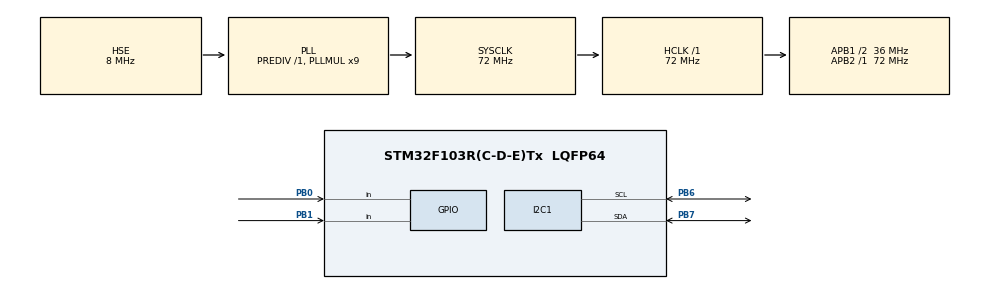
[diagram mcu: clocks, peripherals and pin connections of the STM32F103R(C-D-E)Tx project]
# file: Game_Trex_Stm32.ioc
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Mcu.Family=STM32F1
Mcu.Name=STM32F103R(C-D-E)Tx
Mcu.Package=LQFP64
NVIC.PriorityGroup=NVIC_PRIORITYGROUP_4
PA13.Mode=Serial_Wire
PA13.Signal=SYS_JTMS-SWDIO
PA14.Mode=Serial_Wire
PA14.Signal=SYS_JTCK-SWCLK
PB0.Signal=GPIO_Input
PB1.Signal=GPIO_Input
PB6.Mode=I2C
PB6.Signal=I2C1_SCL
PB7.Mode=I2C
PB7.Signal=I2C1_SDA
PD0-OSC_IN.Mode=HSE-External-Oscillator
PD0-OSC_IN.Signal=RCC_OSC_IN
PD1-OSC_OUT.Mode=HSE-External-Oscillator
PD1-OSC_OUT.Signal=RCC_OSC_OUT
ProjectManager.HeapSize=0x200
ProjectManager.StackSize=0x400
ProjectManager.TargetToolchain=STM32CubeIDE
RCC.AHBFreq_Value=72000000
RCC.APB1CLKDivider=RCC_HCLK_DIV2
RCC.APB1Freq_Value=36000000
RCC.APB1TimFreq_Value=72000000
RCC.APB2Freq_Value=72000000
RCC.APB2TimFreq_Value=72000000
RCC.HCLKFreq_Value=72000000
RCC.PLLMUL=RCC_PLL_MUL9
RCC.PLLSourceVirtual=RCC_PLLSOURCE_HSE
RCC.SYSCLKFreq_VALUE=72000000
RCC.SYSCLKSource=RCC_SYSCLKSOURCE_PLLCLK
RCC.USBFreq_Value=72000000
board=custom

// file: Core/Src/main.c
/* USER CODE BEGIN Header */
/**
 ******************************************************************************
 * @file           : main.c
 * @brief          : Main program body
 ******************************************************************************
 * @attention
 *
 * Copyright (c) 2025 STMicroelectronics.
 * All rights reserved.
 *
 * This software is licensed under terms that can be found in the LICENSE file
 * in the root directory of this software component.
 * If no LICENSE file comes with this software, it is provided AS-IS.
 *
 ******************************************************************************
 */
/* USER CODE END Header */
#include "main.h"

/* USER CODE BEGIN Includes */
#include "SH1106.h"
#include "fonts.h"
#include "dino_frames.h"
#include <stdbool.h>
#include "game_config.h"
/* USER CODE END Includes */

I2C_HandleTypeDef hi2c1;

/* USER CODE BEGIN PV */
// Game state structure
typedef struct {
    int16_t Dino;
    int16_t V_jump;
    int16_t ObstacleX;
    int16_t S_Obstacle;
    int16_t Obstacle_Y;
    int16_t initialObstacleSpeed;
    uint16_t Score;
    uint16_t Hscore;
    bool Menu;
    bool GameOver;
    bool Jumping;
    bool Ducking;
    bool colorChanged;
    uint8_t ObstacleType;
    uint8_t FrameCount;
    int color;
    int bgColor;
} GameState;

// Sprite structure
typedef struct {
    const unsigned char* Bitmap;
    int Width;
    int Height;
} Sprite;

// Cloud structure
typedef struct {
    int16_t x;
    int16_t y;
    int16_t moveCount;
    uint8_t type;
    bool active;
} Cloud;

/* Global variables */
static GameState game = {
    .Menu = true,
    .GameOver = false,
    .Score = 0,
    .Hscore = 0,
    .Jumping = false,
    .Ducking = false,
    .Dino = SCREEN_HEIGHT - GROUND_HEIGHT - DINO_HEIGHT,
    .ObstacleX = SCREEN_WIDTH,
    .ObstacleType = OBSTACLE_SMALL_CACTUS, // Initialize with enum
    .FrameCount = 0,
    .V_jump = 0,
    .S_Obstacle = SPEED_EASY,
    .color = SH1106_COLOR_WHITE,
    .bgColor = SH1106_COLOR_BLACK,
    .colorChanged = false,
    .initialObstacleSpeed = SPEED_EASY
};

static Cloud clouds[MAX_CLOUDS];
/* USER CODE END PV */

void SystemClock_Config(void);
static void MX_GPIO_Init(void);
static void MX_I2C1_Init(void);

void Draw_Settings_Menu(bool isGameOver);
void Handle_Button_Input(bool *buttonState);
void Update_Speed_Setting();
void Draw_Speed_Text();
void Reset_Game_State();

/* USER CODE BEGIN 0 */
// Reset game to initial state
void Reset_Game(void) {
    if (HAL_GPIO_ReadPin(GPIOB, GPIO_PIN_0) != GPIO_PIN_SET) {
        HAL_Delay(BUTTON_DEBOUNCE_DELAY);
        while (HAL_GPIO_ReadPin(GPIOB, GPIO_PIN_0) != GPIO_PIN_SET) {}

        Reset_Game_State();
        Dino_Game();
    }
}

// Reset all game state variables
void Reset_Game_State(void) {
    game.GameOver = false;
    game.Score = 0;
    game.Dino = SCREEN_HEIGHT - DINO_HEIGHT - GROUND_HEIGHT;
    game.ObstacleX = SCREEN_WIDTH;
    game.S_Obstacle = game.initialObstacleSpeed;
    game.Jumping = false;
    game.Ducking = false;
    game.color = SH1106_COLOR_WHITE;
    game.bgColor = SH1106_COLOR_BLACK;

    // Clear all clouds
    for (int i = 0; i < MAX_CLOUDS; i++) {
        clouds[i].active = false;
    }
}

// Function to select appropriate dinosaur sprite based on state
Sprite Select_Sprite_Player(void) {
    Sprite pl;
    bool isAnimationFrame1 = (game.FrameCount / 3 % 2 == 0);

    if (game.Ducking) {
        pl.Bitmap = isAnimationFrame1 ? trex_duck1 : trex_duck2;
        pl.Width = 32;
        pl.Height = 16;
    } else {
        pl.Bitmap = isAnimationFrame1 ? trex_run1 : trex_run2;
        pl.Width = 16;
        pl.Height = 16;
    }

    return pl;
}

// Function to select appropriate obstacle sprite based on type
Sprite Select_Sprite_Obstacle(void) {
    Sprite ob;
    bool isAnimationFrame1 = (game.FrameCount / 3 % 2 == 0);

    switch (game.ObstacleType) {
        case OBSTACLE_SMALL_CACTUS:
            ob.Width = TREE_SMALL_WIDTH;
            ob.Height = TREE_SMALL_HEIGHT;
            ob.Bitmap = tree_small;
            break;
        case OBSTACLE_TALL_CACTUS:
            ob.Width = TREE_TALL_WIDTH;
            ob.Height = TREE_TALL_HEIGHT;
            ob.Bitmap = tree_tall;
            break;
        case OBSTACLE_COMBINED_CACTUS:
            ob.Width = TREE_SMALL_TALL_WIDTH;
            ob.Height = TREE_SMALL_TALL_HEIGHT;
            ob.Bitmap = tree_small_tall;
            break;
        case OBSTACLE_BIRD:
            ob.Width = BIRD_WIDTH;
            ob.Height = BIRD_HEIGHT;
            ob.Bitmap = isAnimationFrame1 ? bird_1 : bird_2;
            break;
        default:
            return (Sprite){0}; // Return an empty sprite on error
    }

    return ob;
}

// Function to draw the ground
void Draw_Ground(int color) {
    uint8_t groundFrame = game.FrameCount / 3 % 3;
    const uint8_t *groundSprite;

    switch (groundFrame) {
        case 0: groundSprite = ground_1; break;
        case 1: groundSprite = ground_2; break;
        case 2: groundSprite = ground_3; break;
        default: return; // Do nothing on error
    }

    SH1106_DrawBitmap(0, SCREEN_HEIGHT - GROUND_HEIGHT, groundSprite, SCREEN_WIDTH, GROUND_HEIGHT, color);
}

// Function to draw clouds in the sky
void Draw_Clouds(int color) {
    const unsigned char *cloudSprites[3] = {cloud1, cloud2, cloud3};
    static int16_t nextCloudSpawn = 0;

    // Update and draw each active cloud
    for (int i = 0; i < MAX_CLOUDS; i++) {
        if (clouds[i].active) {
            SH1106_DrawBitmap(clouds[i].x, clouds[i].y, cloudSprites[clouds[i].type], 16, 8, color);
            clouds[i].x -= 1;
            clouds[i].moveCount++;

            if (clouds[i].x < -16) {
                clouds[i].active = false;
            }
        }
    }

    // Spawn new cloud when counter reaches threshold
    if (nextCloudSpawn >= 50) {
        for (int i = 0; i < MAX_CLOUDS; i++) {
            if (!clouds[i].active) {
                clouds[i].x = SCREEN_WIDTH;
                clouds[i].y = 10 + (rand() % 3) * 10;
                clouds[i].type = rand() % 3;
                clouds[i].moveCount = 0;
                clouds[i].active = true;
                nextCloudSpawn = 0;
                break;
            }
        }
    }

    nextCloudSpawn++;
}

// Function to update color scheme
void Update_Color(void) {
    // Invert colors every 100 points
    if (game.Score % 100 == 0 && game.Score != 0 && !game.colorChanged) {
        // Toggle colors
        if (game.color == SH1106_COLOR_WHITE) {
            game.color = SH1106_COLOR_BLACK;
            game.bgColor = SH1106_COLOR_WHITE;
        } else {
            game.color = SH1106_COLOR_WHITE;
            game.bgColor = SH1106_COLOR_BLACK;
        }
        game.colorChanged = true;
    } else if (game.Score % 30 != 0) {
        game.colorChanged = false;
    }
}

// Update game state logic
void Update_Game_Logic(void) {
    // Jump control
    if (HAL_GPIO_ReadPin(GPIOB, GPIO_PIN_0) == GPIO_PIN_SET && !game.Jumping && !game.Ducking) {
        game.Jumping = true;
        game.V_jump = JUMP_STRENGTH;
    }
    // Duck control
    else if (HAL_GPIO_ReadPin(GPIOB, GPIO_PIN_1) == GPIO_PIN_SET) {
        game.Ducking = true;
    } else {
        game.Ducking = false;
    }

    // Jumping physics
    if (game.Jumping) {
        game.Dino -= game.V_jump;
        game.V_jump -= GRAVITY;

        if (game.Dino >= SCREEN_HEIGHT - DINO_HEIGHT - GROUND_HEIGHT) {
            game.Dino = SCREEN_HEIGHT - DINO_HEIGHT - GROUND_HEIGHT;
            game.Jumping = false;
        }

        // Cancel jump if duck pressed while jumping
        if (HAL_GPIO_ReadPin(GPIOB, GPIO_PIN_1) == GPIO_PIN_SET) {
            game.Dino = SCREEN_HEIGHT - DINO_HEIGHT - GROUND_HEIGHT;
            game.Jumping = false;
            game.V_jump = 0;
            game.Ducking = true;
        }
    }

    // Obstacle movement
    game.ObstacleX -= game.S_Obstacle;

    if (game.ObstacleX < -TREE_SMALL_TALL_WIDTH) {
        game.ObstacleX = SCREEN_WIDTH + (rand() % 50 + 30);
        game.ObstacleType = rand() % 4;
        game.Score += 10;

        // Increase difficulty every 50 points
        if (game.Score % 50 == 0 && game.S_Obstacle <= 100) {
            game.S_Obstacle++;
        }

        // Set vertical position for bird obstacle
        game.Obstacle_Y = (game.ObstacleType == OBSTACLE_BIRD) ? ((rand() % 2 == 0) ? 2 : 14) : 0;
    }
}

// Check for collision between dinosaur and obstacle
bool Check_Collision(void) {
    int16_t obstacleWidth, obstacleHeight;
    int16_t obstacleY = SCREEN_HEIGHT - GROUND_HEIGHT;

    // Set dimensions based on obstacle type
    switch (game.ObstacleType) {
        case OBSTACLE_SMALL_CACTUS:
            obstacleWidth = TREE_SMALL_WIDTH;
            obstacleHeight = TREE_SMALL_HEIGHT;
            obstacleY -= TREE_SMALL_HEIGHT;
            break;
        case OBSTACLE_TALL_CACTUS:
            obstacleWidth = TREE_TALL_WIDTH;
            obstacleHeight = TREE_TALL_HEIGHT;
            obstacleY -= TREE_TALL_HEIGHT;
            break;
        case OBSTACLE_COMBINED_CACTUS:
            obstacleWidth = TREE_SMALL_TALL_WIDTH;
            obstacleHeight = TREE_SMALL_TALL_HEIGHT;
            obstacleY -= TREE_SMALL_TALL_HEIGHT;
            break;
        case OBSTACLE_BIRD:
            obstacleWidth = BIRD_WIDTH;
            obstacleHeight = BIRD_HEIGHT;
            obstacleY -= BIRD_HEIGHT + game.Obstacle_Y;
            break;
        default:
            return false;
    }

    // Set dinosaur dimensions based on ducking state
    int16_t dinoWidth = DINO_WIDTH;
    int16_t dinoHeight = game.Ducking ? 10 : DINO_HEIGHT;
    int16_t dinoY = game.Dino + (game.Ducking ? 6 : 0);

    // Check for overlap in both X and Y directions
    bool xOverlap = (DINO_X < game.ObstacleX + obstacleWidth) && (DINO_X + dinoWidth > game.ObstacleX);
    bool yOverlap = (dinoY < obstacleY + obstacleHeight) && (dinoY + dinoHeight > obstacleY);

    return xOverlap && yOverlap;
}

// Draw menu header with logo
void Draw_Menu_Header(const char* title) {
    // Display title
    SH1106_GotoXY(MENU_TITLE_X, MENU_TITLE_Y);
    SH1106_Puts(title, &Font_11x18, SH1106_COLOR_WHITE);

    // Display dinosaur logo
    SH1106_DrawBitmap(MENU_LOGO_X, MENU_LOGO_Y, logo_trex, 36, 36, SH1106_COLOR_WHITE);
}

// Draw a menu arrow at the specified position
void Draw_Menu_Arrow(int position, int selectedPosition) {
    if (position == selectedPosition) {
        SH1106_DrawBitmap(MENU_ARROW_X, position, Arrow, 16, 9, SH1106_COLOR_WHITE);
    } else {
        SH1106_DrawBitmap(MENU_ARROW_X, position, Arrow, 16, 9, SH1106_COLOR_BLACK);
    }
}

// Get string representation of current speed setting
const char* Get_Speed_Text(void) {
    if (game.S_Obstacle == SPEED_EASY) {
        return "Easy";
    } else if (game.S_Obstacle == SPEED_NORMAL) {
        return "Normal";
    } else {
        return "Hard";
    }
}

// Draw settings menu
void Draw_Settings_Menu(bool isGameOver) {
    static int settingSelection = 0;

    // Clear if coming from another screen
    SH1106_Fill(SH1106_COLOR_BLACK);

    // Display title and logo if in game over settings
    if (isGameOver) {
        Draw_Menu_Header("T-REX GAME");
    }

    // Display settings options
    SH1106_GotoXY(SETTINGS_LABEL_X, MENU_PLAY_Y);
    SH1106_Puts("Speed: ", &Font_7x10, SH1106_COLOR_WHITE);

    // Show current speed
    SH1106_GotoXY(SETTINGS_VALUE_X, MENU_PLAY_Y);
    SH1106_Puts(Get_Speed_Text(), &Font_7x10, SH1106_COLOR_WHITE);

    SH1106_GotoXY(SETTINGS_LABEL_X, SETTINGS_EXIT_Y);
    SH1106_Puts("Exit", &Font_7x10, SH1106_COLOR_WHITE);

    // Display arrow selection for settings
    Draw_Menu_Arrow(MENU_PLAY_Y, settingSelection == 0 ? MENU_PLAY_Y : SETTINGS_EXIT_Y);
    Draw_Menu_Arrow(SETTINGS_EXIT_Y, settingSelection == 1 ? SETTINGS_EXIT_Y : MENU_PLAY_Y);

    bool buttonPressed = false;

    while (!buttonPressed) {
        // Handle selection change
        if (HAL_GPIO_ReadPin(GPIOB, GPIO_PIN_1) == GPIO_PIN_SET) {
            HAL_Delay(BUTTON_DEBOUNCE_DELAY);
            while (HAL_GPIO_ReadPin(GPIOB, GPIO_PIN_1) == GPIO_PIN_SET) {}
            settingSelection = 1 - settingSelection;

            // Update arrows
            Draw_Menu_Arrow(MENU_PLAY_Y, settingSelection == 0 ? MENU_PLAY_Y : SETTINGS_EXIT_Y);
            Draw_Menu_Arrow(SETTINGS_EXIT_Y, settingSelection == 1 ? SETTINGS_EXIT_Y : MENU_PLAY_Y);

            SH1106_UpdateScreen();
        }

        // Handle selection
        if (HAL_GPIO_ReadPin(GPIOB, GPIO_PIN_0) == GPIO_PIN_SET) {
            HAL_Delay(BUTTON_DEBOUNCE_DELAY);
            while (HAL_GPIO_ReadPin(GPIOB, GPIO_PIN_0) == GPIO_PIN_SET) {}

            if (settingSelection == 0) {
                // Store previous speed for comparison
                uint8_t prevSpeed = game.S_Obstacle;

                // Update speed (cycle through options)
                if (game.S_Obstacle == SPEED_EASY) {
                    game.S_Obstacle = SPEED_NORMAL;
                } else if (game.S_Obstacle == SPEED_NORMAL) {
                    game.S_Obstacle = SPEED_HARD;
                } else {
                    game.S_Obstacle = SPEED_EASY;
                }

                // Only redraw if the speed has changed
                if (prevSpeed != game.S_Obstacle) {
                    // Clear the speed text area
                    SH1106_ClearArea(SETTINGS_VALUE_X, MENU_PLAY_Y, 110, 28, SH1106_COLOR_BLACK);

                    // Show updated speed
                    SH1106_GotoXY(SETTINGS_VALUE_X, MENU_PLAY_Y);
                    SH1106_Puts(Get_Speed_Text(), &Font_7x10, SH1106_COLOR_WHITE);

                    SH1106_UpdateScreen();
                }

                game.initialObstacleSpeed = game.S_Obstacle;
            } else {
                // Exit selected
                buttonPressed = true;
                settingSelection = 0;
            }
        }
    }
}

// Draw the game menu
void Draw_Menu(void) {
    SH1106_Fill(SH1106_COLOR_BLACK);
    int currentSelection = 0;
    bool inMainMenu = true;

    while (game.Menu) {
        if (inMainMenu) {
            // Draw main menu
            SH1106_Fill(SH1106_COLOR_BLACK);

            // Display title and logo
            Draw_Menu_Header("T-REX GAME");

            // Display menu options
            SH1106_GotoXY(MENU_OPTION_X, MENU_PLAY_Y);
            SH1106_Puts("Play", &Font_7x10, SH1106_COLOR_WHITE);

            SH1106_GotoXY(MENU_OPTION_X, MENU_SETTING_Y);
            SH1106_Puts("Setting", &Font_7x10, SH1106_COLOR_WHITE);

            // Display arrow for selection
            Draw_Menu_Arrow(MENU_PLAY_Y, currentSelection == 0 ? MENU_PLAY_Y : MENU_SETTING_Y);
            Draw_Menu_Arrow(MENU_SETTING_Y, currentSelection == 1 ? MENU_SETTING_Y : MENU_PLAY_Y);

            // Handle button 1 (down/select)
            if (HAL_GPIO_ReadPin(GPIOB, GPIO_PIN_1) == GPIO_PIN_SET) {
                HAL_Delay(BUTTON_DEBOUNCE_DELAY);
                while (HAL_GPIO_ReadPin(GPIOB, GPIO_PIN_1) == GPIO_PIN_SET) {}
                currentSelection = 1 - currentSelection;
            }

            // Handle button 0 (confirm/start)
            if (HAL_GPIO_ReadPin(GPIOB, GPIO_PIN_0) == GPIO_PIN_SET) {
                HAL_Delay(BUTTON_DEBOUNCE_DELAY);
                while (HAL_GPIO_ReadPin(GPIOB, GPIO_PIN_0) == GPIO_PIN_SET) {}

                if (currentSelection == 0) {
                    game.Menu = false;
                    game.Jumping = false;
                } else {
                    inMainMenu = false;
                    Draw_Settings_Menu(false);
                    inMainMenu = true;
                    SH1106_Fill(SH1106_COLOR_BLACK);
                }
            }
        }

        SH1106_UpdateScreen();
    }
}

// Draw game over screen
void Draw_Game_Over(void) {
    SH1106_Fill(SH1106_COLOR_BLACK);
    int currentSelection = 0;
    bool inMainOverMenu = true;

    while (game.GameOver) {
        if (inMainOverMenu) {
            // Display Game Over main screen
            SH1106_Fill(SH1106_COLOR_BLACK);

            // Display "GAME OVER" text
            SH1106_GotoXY(GAME_OVER_TITLE_X, MENU_TITLE_Y);
            SH1106_Puts("GAME OVER", &Font_11x18, SH1106_COLOR_WHITE);

            // Update high score if needed
            if (game.Score > game.Hscore) {
                game.Hscore = game.Score;
            }

            // Display high score
            char scoreStr[12];
            sprintf(scoreStr, "HI: %d", game.Hscore);
            SH1106_GotoXY(SCORE_DISPLAY_X, HI_SCORE_Y);
            SH1106_Puts(scoreStr, &Font_7x10, SH1106_COLOR_WHITE);

            // Display current score
            sprintf(scoreStr, "SCORE: %d", game.Score);
            SH1106_GotoXY(SCORE_DISPLAY_X, CURRENT_SCORE_Y);
            SH1106_Puts(scoreStr, &Font_7x10, SH1106_COLOR_WHITE);

            // Display restart option
            SH1106_GotoXY(MENU_OPTION_X, RESTART_OPTION_Y);
            SH1106_Puts("Restart", &Font_7x10, SH1106_COLOR_WHITE);

            // Display setting option
            SH1106_GotoXY(MENU_OPTION_X, SETTING_OPTION_Y);
            SH1106_Puts("Setting", &Font_7x10, SH1106_COLOR_WHITE);

            // Display arrow to indicate selection
            Draw_Menu_Arrow(RESTART_OPTION_Y, currentSelection == 0 ? RESTART_OPTION_Y : SETTING_OPTION_Y);
            Draw_Menu_Arrow(SETTING_OPTION_Y, currentSelection == 1 ? SETTING_OPTION_Y : RESTART_OPTION_Y);

            // Handle button 1 (down/select)
            if (HAL_GPIO_ReadPin(GPIOB, GPIO_PIN_1) == GPIO_PIN_SET) {
                HAL_Delay(BUTTON_DEBOUNCE_DELAY);
                while (HAL_GPIO_ReadPin(GPIOB, GPIO_PIN_1) == GPIO_PIN_SET) {}
                currentSelection = 1 - currentSelection;
            }

            // Handle button 0 (confirm/start)
            if (HAL_GPIO_ReadPin(GPIOB, GPIO_PIN_0) == GPIO_PIN_SET) {
                HAL_Delay(BUTTON_DEBOUNCE_DELAY);
                while (HAL_GPIO_ReadPin(GPIOB, GPIO_PIN_0) == GPIO_PIN_SET) {}

                if (currentSelection == 0) {
                    Reset_Game();
                    return;
                } else {
                    inMainOverMenu = false;
                    Draw_Settings_Menu(true);
                    inMainOverMenu = true;
                    SH1106_Fill(SH1106_COLOR_BLACK);
                }
            }
        }

        SH1106_UpdateScreen();
    }
}

// Draw the game screen
void Draw_Game(void) {
    Update_Color();

    SH1106_Fill(game.bgColor);
    Draw_Ground(game.color);
    Draw_Clouds(game.color);

    // Draw dinosaur
    Sprite pl = Select_Sprite_Player();
    SH1106_DrawBitmap(DINO_X, game.Dino, pl.Bitmap, pl.Width, pl.Height, game.color);

    // Draw obstacle
    Sprite ob = Select_Sprite_Obstacle();
    SH1106_DrawBitmap(
        game.ObstacleX,
        SCREEN_HEIGHT - GROUND_HEIGHT - ob.Height - game.Obstacle_Y,
        ob.Bitmap, ob.Width, ob.Height, game.color
    );

    // Display scores
    char scoreStr[12];

    // Update high score if needed
    if (game.Score > game.Hscore) {
        game.Hscore = game.Score;
    }

    sprintf(scoreStr, "HI %d  %d", game.Hscore, game.Score);
    SH1106_GotoXY(SCORE_TEXT_X, SCORE_TEXT_Y);
    SH1106_Puts(scoreStr, &Font_7x10, game.color);

    SH1106_UpdateScreen();
}

// Main game function
void Dino_Game(void) {
    Draw_Menu();

    while (!game.GameOver) {
        Update_Game_Logic();
        Draw_Game();

        if (Check_Collision()) {
            game.GameOver = true;
        }

        game.FrameCount++;
        HAL_Delay(50);
    }

    Draw_Game_Over();
    Reset_Game();
}
/* USER CODE END 0 */

int main(void)
{

	/* MCU Configuration--------------------------------------------------------*/

	/* Reset of all peripherals, Initializes the Flash interface and the Systick. */
	HAL_Init();

	/* Configure the system clock */
	SystemClock_Config();

	/* Initialize all configured peripherals */
	MX_GPIO_Init();
	MX_I2C1_Init();
	/* USER CODE BEGIN 2 */
	SH1106_Init();
	Dino_Game();
	/* USER CODE END 2 */

	/* Infinite loop */
	while (1)
	{

	}
}

void SystemClock_Config(void)
{
	RCC_OscInitTypeDef RCC_OscInitStruct = {0};
	RCC_ClkInitTypeDef RCC_ClkInitStruct = {0};

	/** Initializes the RCC Oscillators according to the specified parameters
	 * in the RCC_OscInitTypeDef structure.
	 */
	RCC_OscInitStruct.OscillatorType = RCC_OSCILLATORTYPE_HSE;
	RCC_OscInitStruct.HSEState = RCC_HSE_ON;
	RCC_OscInitStruct.HSEPredivValue = RCC_HSE_PREDIV_DIV1;
	RCC_OscInitStruct.HSIState = RCC_HSI_ON;
	RCC_OscInitStruct.PLL.PLLState = RCC_PLL_ON;
	RCC_OscInitStruct.PLL.PLLSource = RCC_PLLSOURCE_HSE;
	RCC_OscInitStruct.PLL.PLLMUL = RCC_PLL_MUL9;
	if (HAL_RCC_OscConfig(&RCC_OscInitStruct) != HAL_OK)
	{
		Error_Handler();
	}

	/** Initializes the CPU, AHB and APB buses clocks
	 */
	RCC_ClkInitStruct.ClockType = RCC_CLOCKTYPE_HCLK | RCC_CLOCKTYPE_SYSCLK | RCC_CLOCKTYPE_PCLK1 | RCC_CLOCKTYPE_PCLK2;
	RCC_ClkInitStruct.SYSCLKSource = RCC_SYSCLKSOURCE_PLLCLK;
	RCC_ClkInitStruct.AHBCLKDivider = RCC_SYSCLK_DIV1;
	RCC_ClkInitStruct.APB1CLKDivider = RCC_HCLK_DIV2;
	RCC_ClkInitStruct.APB2CLKDivider = RCC_HCLK_DIV1;

	if (HAL_RCC_ClockConfig(&RCC_ClkInitStruct, FLASH_LATENCY_2) != HAL_OK)
	{
		Error_Handler();
	}
}

static void MX_I2C1_Init(void)
{

	hi2c1.Instance = I2C1;
	hi2c1.Init.ClockSpeed = 400000;
	hi2c1.Init.DutyCycle = I2C_DUTYCYCLE_2;
	hi2c1.Init.OwnAddress1 = 0;
	hi2c1.Init.AddressingMode = I2C_ADDRESSINGMODE_7BIT;
	hi2c1.Init.DualAddressMode = I2C_DUALADDRESS_DISABLE;
	hi2c1.Init.OwnAddress2 = 0;
	hi2c1.Init.GeneralCallMode = I2C_GENERALCALL_DISABLE;
	hi2c1.Init.NoStretchMode = I2C_NOSTRETCH_DISABLE;
	if (HAL_I2C_Init(&hi2c1) != HAL_OK)
	{
		Error_Handler();
	}
}

static void MX_GPIO_Init(void)
{
	GPIO_InitTypeDef GPIO_InitStruct = {0};

	/* GPIO Ports Clock Enable */
	__HAL_RCC_GPIOD_CLK_ENABLE();
	__HAL_RCC_GPIOB_CLK_ENABLE();
	__HAL_RCC_GPIOA_CLK_ENABLE();

	/*Configure GPIO pins : PB0 PB1 */
	GPIO_InitStruct.Pin = GPIO_PIN_0 | GPIO_PIN_1;
	GPIO_InitStruct.Mode = GPIO_MODE_INPUT;
	GPIO_InitStruct.Pull = GPIO_NOPULL;
	HAL_GPIO_Init(GPIOB, &GPIO_InitStruct);

}

void Error_Handler(void)
{
	__disable_irq();
	while (1)
	{
	}
}
